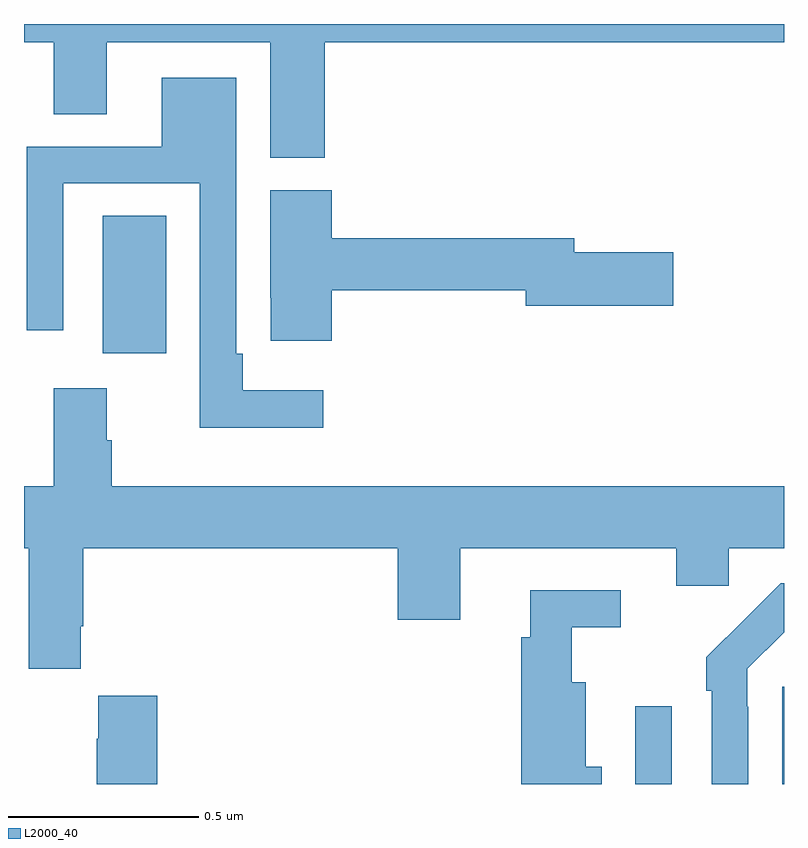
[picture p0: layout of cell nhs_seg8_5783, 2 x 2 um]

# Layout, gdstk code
import gdstk
lib = gdstk.Library(unit=1e-6, precision=1e-09)
def R(c, l, rs):  # rectangles x0, y0, x1, y1
    for r in rs: c.add(gdstk.rectangle(r[:2], r[2:], *l))
def P(c, l, *ps):  # polygons
    for p in ps: c.add(gdstk.Polygon(p, *l))
L2000_40 = (2000, 40)

nhs_seg8_5783 = lib.new_cell('nhs_seg8_5783')
R(nhs_seg8_5783, L2000_40, [(189.609,1095.9,189.705,1096.105), (189.995,1095.9,190,1096.156), (188.207,1097.034,188.374,1097.396)])
P(nhs_seg8_5783, L2000_40, [(188.792,1097.852),(190,1097.852),(190,1097.9),(188,1097.9),(188,1097.852),(188.078,1097.852),(188.078,1097.662),(188.218,1097.662),(188.218,1097.852),(188.648,1097.852),(188.648,1097.548),(188.792,1097.548)],
  [(188.788,1096.936),(188.575,1096.936),(188.575,1097.032),(188.559,1097.032),(188.559,1097.758),(188.363,1097.758),(188.363,1097.577),(188.007,1097.577),(188.007,1097.094),(188.103,1097.094),(188.103,1097.481),(188.463,1097.481),(188.463,1096.838),(188.788,1096.838)],
  [(188.81,1097.2),(189.32,1097.2),(189.32,1097.158),(189.709,1097.158),(189.709,1097.3),(189.448,1097.3),(189.448,1097.336),(188.81,1097.336),(188.81,1097.463),(188.648,1097.463),(188.648,1097.179),(188.649,1097.179),(188.649,1097.067),(188.81,1097.067)],
  [(188.149,1096.315),(188.156,1096.315),(188.156,1096.52),(188.984,1096.52),(188.984,1096.332),(189.148,1096.332),(189.148,1096.52),(189.716,1096.52),(189.716,1096.422),(189.855,1096.422),(189.855,1096.52),(190,1096.52),(190,1096.684),(188.231,1096.684),(188.231,1096.805),(188.218,1096.805),(188.218,1096.942),(188.078,1096.942),(188.078,1096.684),(188,1096.684),(188,1096.52),(188.012,1096.52),(188.012,1096.203),(188.149,1096.203)],
  [(189.906,1096.103),(189.903,1096.103),(189.903,1096.203),(190,1096.3),(190,1096.428),(189.992,1096.428),(189.901,1096.337),(189.9,1096.338),(189.795,1096.233),(189.795,1096.145),(189.81,1096.145),(189.81,1095.9),(189.906,1095.9)],
  [(189.52,1095.946),(189.478,1095.946),(189.478,1096.168),(189.442,1096.168),(189.442,1096.313),(189.571,1096.313),(189.571,1096.41),(189.332,1096.41),(189.332,1096.286),(189.308,1096.286),(189.308,1095.9),(189.52,1095.9)],
  [(188.351,1096.132),(188.195,1096.132),(188.195,1096.019),(188.191,1096.019),(188.191,1095.9),(188.351,1095.9)])

lib.write_gds('nhs_seg8_5783.gds')
